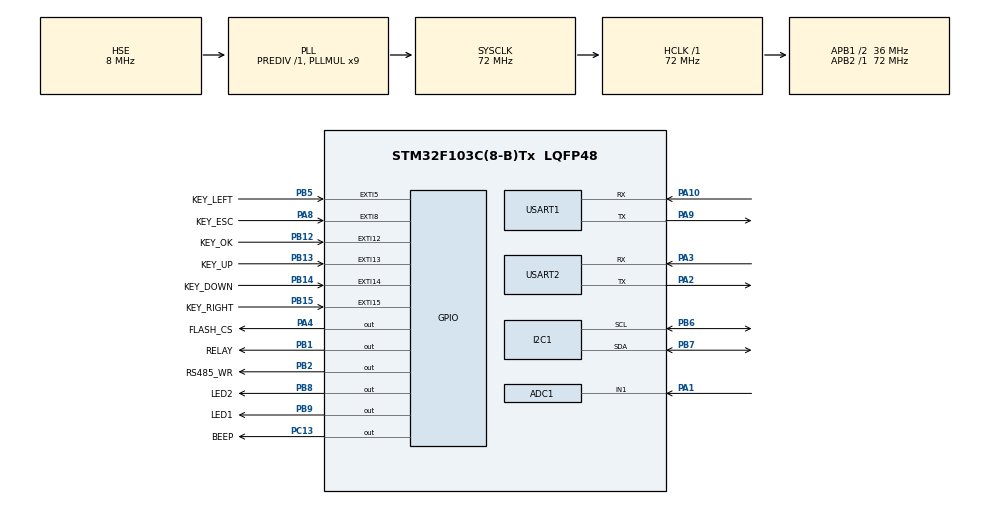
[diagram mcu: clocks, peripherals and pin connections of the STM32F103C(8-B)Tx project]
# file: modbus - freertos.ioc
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ADC1.Channel-0\#ChannelRegularConversion=ADC_CHANNEL_1
ADC1.NbrOfConversionFlag=1
ADC1.Rank-0\#ChannelRegularConversion=1
ADC1.SamplingTime-0\#ChannelRegularConversion=ADC_SAMPLETIME_239CYCLES_5
ADC1.master=1
FREERTOS.Tasks01=ModbusTask,0,128,StartModbusTask,Default,NULL,Dynamic,NULL,NULL
FREERTOS.Timers01=ModbusTimer,CallbackModbus,osTimerPeriodic,Default,NULL,Dynamic,NULL
FREERTOS.configUSE_TIMERS=1
Mcu.Family=STM32F1
Mcu.Name=STM32F103C(8-B)Tx
Mcu.Package=LQFP48
NVIC.EXTI15_10_IRQn=true\:5\:0\:true\:false\:true\:true\:true\:true\:true
NVIC.EXTI9_5_IRQn=true\:5\:0\:true\:false\:true\:true\:true\:true\:true
NVIC.PriorityGroup=NVIC_PRIORITYGROUP_4
NVIC.TIM1_UP_IRQn=true\:15\:0\:false\:false\:true\:false\:false\:true\:true
NVIC.TimeBase=TIM1_UP_IRQn
NVIC.TimeBaseIP=TIM1
NVIC.USART2_IRQn=true\:5\:0\:false\:false\:false\:true\:true\:true\:true
PA1.Signal=ADCx_IN1
PA10.Mode=Asynchronous
PA10.Signal=USART1_RX
PA13.Mode=Serial_Wire
PA13.Signal=SYS_JTMS-SWDIO
PA14.Mode=Serial_Wire
PA14.Signal=SYS_JTCK-SWCLK
PA2.Mode=Asynchronous
PA2.Signal=USART2_TX
PA3.Mode=Asynchronous
PA3.Signal=USART2_RX
PA4.GPIO_Label=FLASH_CS
PA4.GPIO_Speed=GPIO_SPEED_FREQ_HIGH
PA4.PinState=GPIO_PIN_SET
PA4.Signal=GPIO_Output
PA8.GPIO_Label=KEY_ESC
PA8.GPIO_ModeDefaultEXTI=GPIO_MODE_IT_FALLING
PA8.GPIO_PuPd=GPIO_PULLUP
PA8.Signal=GPXTI8
PA9.Mode=Asynchronous
PA9.Signal=USART1_TX
PB1.GPIO_Label=RELAY
PB1.Signal=GPIO_Output
PB12.GPIO_Label=KEY_OK
PB12.GPIO_ModeDefaultEXTI=GPIO_MODE_IT_FALLING
PB12.GPIO_PuPd=GPIO_PULLUP
PB12.Signal=GPXTI12
PB13.GPIO_Label=KEY_UP
PB13.GPIO_ModeDefaultEXTI=GPIO_MODE_IT_FALLING
PB13.GPIO_PuPd=GPIO_PULLUP
PB13.Signal=GPXTI13
PB14.GPIO_Label=KEY_DOWN
PB14.GPIO_ModeDefaultEXTI=GPIO_MODE_IT_FALLING
PB14.GPIO_PuPd=GPIO_PULLUP
PB14.Signal=GPXTI14
PB15.GPIO_Label=KEY_RIGHT
PB15.GPIO_ModeDefaultEXTI=GPIO_MODE_IT_FALLING
PB15.GPIO_PuPd=GPIO_PULLUP
PB15.Signal=GPXTI15
PB2.GPIO_Label=RS485_WR
PB2.Signal=GPIO_Output
PB5.GPIO_Label=KEY_LEFT
PB5.GPIO_ModeDefaultEXTI=GPIO_MODE_IT_FALLING
PB5.GPIO_PuPd=GPIO_PULLUP
PB5.Signal=GPXTI5
PB6.Mode=I2C
PB6.Signal=I2C1_SCL
PB7.Mode=I2C
PB7.Signal=I2C1_SDA
PB8.GPIO_Label=LED2
PB8.PinState=GPIO_PIN_SET
PB8.Signal=GPIO_Output
PB9.GPIO_Label=LED1
PB9.PinState=GPIO_PIN_SET
PB9.Signal=GPIO_Output
PC13-TAMPER-RTC.GPIO_Label=BEEP
PC13-TAMPER-RTC.Signal=GPIO_Output
PD0-OSC_IN.Mode=HSE-External-Oscillator
PD0-OSC_IN.Signal=RCC_OSC_IN
PD1-OSC_OUT.Mode=HSE-External-Oscillator
PD1-OSC_OUT.Signal=RCC_OSC_OUT
ProjectManager.HeapSize=0x200
ProjectManager.StackSize=0x400
ProjectManager.TargetToolchain=MDK-ARM V5.32
RCC.ADCPresc=RCC_ADCPCLK2_DIV6
RCC.AHBFreq_Value=72000000
RCC.APB1CLKDivider=RCC_HCLK_DIV2
RCC.APB1Freq_Value=36000000
RCC.APB1TimFreq_Value=72000000
RCC.APB2Freq_Value=72000000
RCC.APB2TimFreq_Value=72000000
RCC.HCLKFreq_Value=72000000
RCC.PLLMUL=RCC_PLL_MUL9
RCC.PLLSourceVirtual=RCC_PLLSOURCE_HSE
RCC.RTCClockSelection=RCC_RTCCLKSOURCE_LSE
RCC.SYSCLKFreq_VALUE=72000000
RCC.SYSCLKSource=RCC_SYSCLKSOURCE_PLLCLK
RCC.USBFreq_Value=72000000
SH.ADCx_IN1.0=ADC1_IN1,IN1
USART1.VirtualMode=VM_ASYNC
USART2.VirtualMode=VM_ASYNC
VP_FREERTOS_VS_CMSIS_V1.Mode=CMSIS_V1
VP_SYS_VS_tim1.Mode=TIM1
VP_TIM4_VS_ClockSourceINT.Mode=Internal
board=custom

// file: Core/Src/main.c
/* USER CODE BEGIN Header */
/**
******************************************************************************
* @file : main.c
* @brief : Main program body
******************************************************************************
* @attention
* *
Copyright (c) 2025 STMicroelectronics.
* All rights reserved.
* *
This software is licensed under terms that can be found in the LICENSE file
* in the root directory of this software component.
* If no LICENSE file comes with this software, it is provided AS-IS.
* *
*****************************************************************************
*/
/* USER CODE END Header */
#include "main.h"
#include "cmsis_os.h"
#include "adc.h"
#include "i2c.h"
#include "tim.h"
#include "usart.h"
#include "gpio.h"

/* USER CODE BEGIN Includes */
#include <stdio.h>
#include "oled.h"
#include "aht20.h"
#include "ina226.h"
#include "mb.h"
#include "modbus.h"
#include "port.h"
/* USER CODE END Includes */

void SystemClock_Config(void);
void MX_FREERTOS_Init(void);

int main(void)
{

  /* MCU Configuration--------------------------------------------------------*/

  /* Reset of all peripherals, Initializes the Flash interface and the Systick. */
  HAL_Init();

  /* Configure the system clock */
  SystemClock_Config();

  /* Initialize all configured peripherals */
  MX_GPIO_Init();
  MX_I2C1_Init();
  MX_ADC1_Init();
  MX_USART1_UART_Init();
  MX_USART2_UART_Init();
  MX_TIM4_Init();
  /* USER CODE BEGIN 2 */
	printf("Uart1 init is ok\n");
	printf("Modbus Test\n");
	//EEPROM_Test();
	OLED_Init();
	OLED_CLS(); // 清除屏幕显示
	OLED_ShowStr(16,0, (unsigned char*)"Modbus Control", 2);
	AHT20_Init();
	INA226_Init();

  /* USER CODE END 2 */

  /* Call init function for freertos objects (in cmsis_os2.c) */
  MX_FREERTOS_Init();

  /* Start scheduler */
  osKernelStart();

  /* We should never get here as control is now taken by the scheduler */

  /* Infinite loop */
	while (1)
	{

	}
}

void SystemClock_Config(void)
{
  RCC_OscInitTypeDef RCC_OscInitStruct = {0};
  RCC_ClkInitTypeDef RCC_ClkInitStruct = {0};
  RCC_PeriphCLKInitTypeDef PeriphClkInit = {0};

  /** Initializes the RCC Oscillators according to the specified parameters
  * in the RCC_OscInitTypeDef structure.
  */
  RCC_OscInitStruct.OscillatorType = RCC_OSCILLATORTYPE_HSE;
  RCC_OscInitStruct.HSEState = RCC_HSE_ON;
  RCC_OscInitStruct.HSEPredivValue = RCC_HSE_PREDIV_DIV1;
  RCC_OscInitStruct.HSIState = RCC_HSI_ON;
  RCC_OscInitStruct.PLL.PLLState = RCC_PLL_ON;
  RCC_OscInitStruct.PLL.PLLSource = RCC_PLLSOURCE_HSE;
  RCC_OscInitStruct.PLL.PLLMUL = RCC_PLL_MUL9;
  if (HAL_RCC_OscConfig(&RCC_OscInitStruct) != HAL_OK)
  {
    Error_Handler();
  }

  /** Initializes the CPU, AHB and APB buses clocks
  */
  RCC_ClkInitStruct.ClockType = RCC_CLOCKTYPE_HCLK|RCC_CLOCKTYPE_SYSCLK
                              |RCC_CLOCKTYPE_PCLK1|RCC_CLOCKTYPE_PCLK2;
  RCC_ClkInitStruct.SYSCLKSource = RCC_SYSCLKSOURCE_PLLCLK;
  RCC_ClkInitStruct.AHBCLKDivider = RCC_SYSCLK_DIV1;
  RCC_ClkInitStruct.APB1CLKDivider = RCC_HCLK_DIV2;
  RCC_ClkInitStruct.APB2CLKDivider = RCC_HCLK_DIV1;

  if (HAL_RCC_ClockConfig(&RCC_ClkInitStruct, FLASH_LATENCY_2) != HAL_OK)
  {
    Error_Handler();
  }
  PeriphClkInit.PeriphClockSelection = RCC_PERIPHCLK_ADC;
  PeriphClkInit.AdcClockSelection = RCC_ADCPCLK2_DIV6;
  if (HAL_RCCEx_PeriphCLKConfig(&PeriphClkInit) != HAL_OK)
  {
    Error_Handler();
  }
}

void HAL_TIM_PeriodElapsedCallback(TIM_HandleTypeDef *htim)
{
  if (htim->Instance == TIM1)
  {
    HAL_IncTick();
  }
  /* USER CODE BEGIN Callback 1 */
  else if(htim->Instance == TIM3)
  {
	printf("tim3\n");
	TIM3_Timerout_Flag = 1;		//500ms置位1次
  }
  /* USER CODE END Callback 1 */
}

void Error_Handler(void)
{
	__disable_irq();
	while (1)
	{
	}
}

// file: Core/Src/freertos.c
/* USER CODE BEGIN Header */
/**
  ******************************************************************************
  * File Name          : freertos.c
  * Description        : Code for freertos applications
  ******************************************************************************
  * @attention
  *
  * Copyright (c) 2026 STMicroelectronics.
  * All rights reserved.
  *
  * This software is licensed under terms that can be found in the LICENSE file
  * in the root directory of this software component.
  * If no LICENSE file comes with this software, it is provided AS-IS.
  *
  ******************************************************************************
  */
/* USER CODE END Header */

#include "FreeRTOS.h"
#include "task.h"
#include "main.h"
#include "cmsis_os.h"

/* USER CODE BEGIN Includes */
#include "modbus.h"
#include "mb.h"
#include <stdio.h>
/* USER CODE END Includes */

osThreadId ModbusTaskHandle;
osTimerId ModbusTimerHandle;

void StartModbusTask(void const * argument);
void CallbackModbus(void const * argument);

void MX_FREERTOS_Init(void); /* (MISRA C 2004 rule 8.1) */

/* GetIdleTaskMemory prototype (linked to static allocation support) */
void vApplicationGetIdleTaskMemory( StaticTask_t **ppxIdleTaskTCBBuffer, StackType_t **ppxIdleTaskStackBuffer, uint32_t *pulIdleTaskStackSize );

/* GetTimerTaskMemory prototype (linked to static allocation support) */
void vApplicationGetTimerTaskMemory( StaticTask_t **ppxTimerTaskTCBBuffer, StackType_t **ppxTimerTaskStackBuffer, uint32_t *pulTimerTaskStackSize );

/* USER CODE BEGIN GET_IDLE_TASK_MEMORY */
static StaticTask_t xIdleTaskTCBBuffer;
static StackType_t xIdleStack[configMINIMAL_STACK_SIZE];

void vApplicationGetIdleTaskMemory( StaticTask_t **ppxIdleTaskTCBBuffer, StackType_t **ppxIdleTaskStackBuffer, uint32_t *pulIdleTaskStackSize )
{
  *ppxIdleTaskTCBBuffer = &xIdleTaskTCBBuffer;
  *ppxIdleTaskStackBuffer = &xIdleStack[0];
  *pulIdleTaskStackSize = configMINIMAL_STACK_SIZE;
  /* place for user code */
}
/* USER CODE END GET_IDLE_TASK_MEMORY */

/* USER CODE BEGIN GET_TIMER_TASK_MEMORY */
static StaticTask_t xTimerTaskTCBBuffer;
static StackType_t xTimerStack[configTIMER_TASK_STACK_DEPTH];

void vApplicationGetTimerTaskMemory( StaticTask_t **ppxTimerTaskTCBBuffer, StackType_t **ppxTimerTaskStackBuffer, uint32_t *pulTimerTaskStackSize )
{
  *ppxTimerTaskTCBBuffer = &xTimerTaskTCBBuffer;
  *ppxTimerTaskStackBuffer = &xTimerStack[0];
  *pulTimerTaskStackSize = configTIMER_TASK_STACK_DEPTH;
  /* place for user code */
}
/* USER CODE END GET_TIMER_TASK_MEMORY */

void MX_FREERTOS_Init(void) {

  /* Create the timer(s) */
  /* definition and creation of ModbusTimer */
  osTimerDef(ModbusTimer, CallbackModbus);
  ModbusTimerHandle = osTimerCreate(osTimer(ModbusTimer), osTimerPeriodic, NULL);

  /* USER CODE BEGIN RTOS_TIMERS */
  /* start timers, add new ones, ... */
	osTimerStart(ModbusTimerHandle, 500);//定时时间500ms
  /* USER CODE END RTOS_TIMERS */

  /* Create the thread(s) */
  /* definition and creation of ModbusTask */
  osThreadDef(ModbusTask, StartModbusTask, osPriorityNormal, 0, 128);
  ModbusTaskHandle = osThreadCreate(osThread(ModbusTask), NULL);

}

void StartModbusTask(void const * argument)
{
  /* USER CODE BEGIN StartModbusTask */
  /* Infinite loop */
  Modbus_Init();
  for(;;)
  {
	eMBPoll();// 轮训查询
	Modbus_Parse();//解析各种命令
    osDelay(10);
  }
  /* USER CODE END StartModbusTask */
}

/* CallbackModbus function */
void CallbackModbus(void const * argument)
{
  /* USER CODE BEGIN CallbackModbus */
	//printf("CallbackModbus\n");
	TIM3_Timerout_Flag = 1;		//500ms置位1次
  /* USER CODE END CallbackModbus */
}
